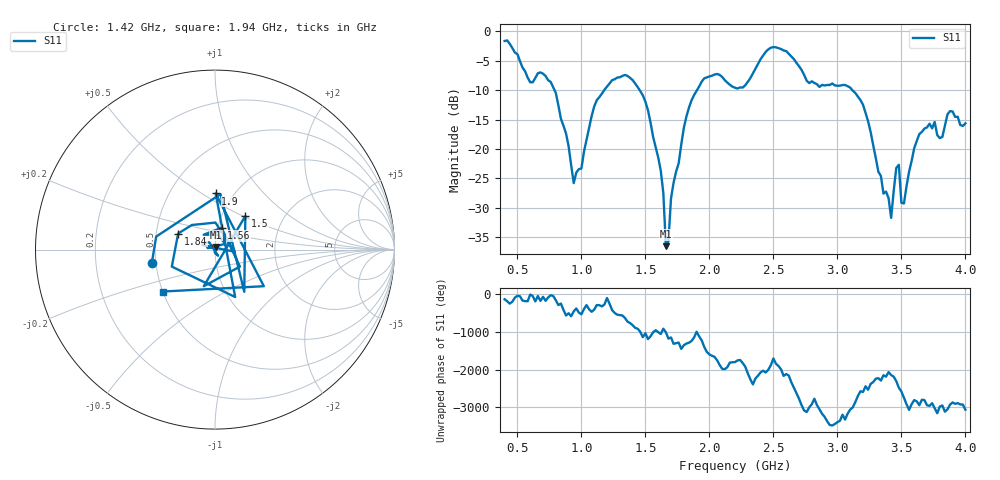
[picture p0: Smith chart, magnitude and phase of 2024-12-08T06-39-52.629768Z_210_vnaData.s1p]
!Created with skrf (http://scikit-rf.org).
# Hz S RI R 50.0
!freq ReS11 ImS11
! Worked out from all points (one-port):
!   181 points, 400 MHz to 4 GHz, reference 50 ohm
!   lowest |S11| = -36.5 dB at 1.66 GHz (marker M1), VSWR 1.03, Z = 50.4 + j1.45 ohm
!   |S11| at or under -10 dB: 790.5 MHz to 1.178 GHz (387.3 MHz wide, 39.4 % of centre); 1.455 GHz to 1.903 GHz (447.2 MHz wide, 26.6 % of centre); 3.117 GHz to end of sweep
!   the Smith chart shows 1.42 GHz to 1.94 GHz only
!   S11 on the Smith chart (normalised r, x): 1.42 GHz: 0.47, -0.08; 1.5 GHz: 1.29, +0.52; 1.56 GHz: 1.04, +0.26; 1.84 GHz: 0.65, +0.12; 1.9 GHz: 0.83, +0.57; 1.94 GHz: 0.50, -0.27
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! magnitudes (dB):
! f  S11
! 400 MHz  -1.6
! 600 MHz  -8.6
! 760 MHz  -8.6
! 860 MHz  -16.0
! 940 MHz  -25.8
! 1.12 GHz  -11.7
! 1.3 GHz  -7.8
! 1.42 GHz  -8.9
! 1.5 GHz  -12.0
! 1.56 GHz  -17.9
! 1.62 GHz  -23.7
! 1.66 GHz  -36.5
! 1.76 GHz  -22.4
! 1.84 GHz  -13.0
! 1.9 GHz  -10.1
! 1.94 GHz  -8.5
! 2.2 GHz  -9.6
! 2.48 GHz  -2.8
! 2.66 GHz  -4.7
! 3.1 GHz  -9.6
! 3.22 GHz  -13.9
! 3.42 GHz  -31.7
! 3.46 GHz  -23.2
! 3.48 GHz  -22.7
! 3.5 GHz  -29.2
! 3.56 GHz  -23.9
! 3.72 GHz  -15.7
! 4 GHz  -15.6
